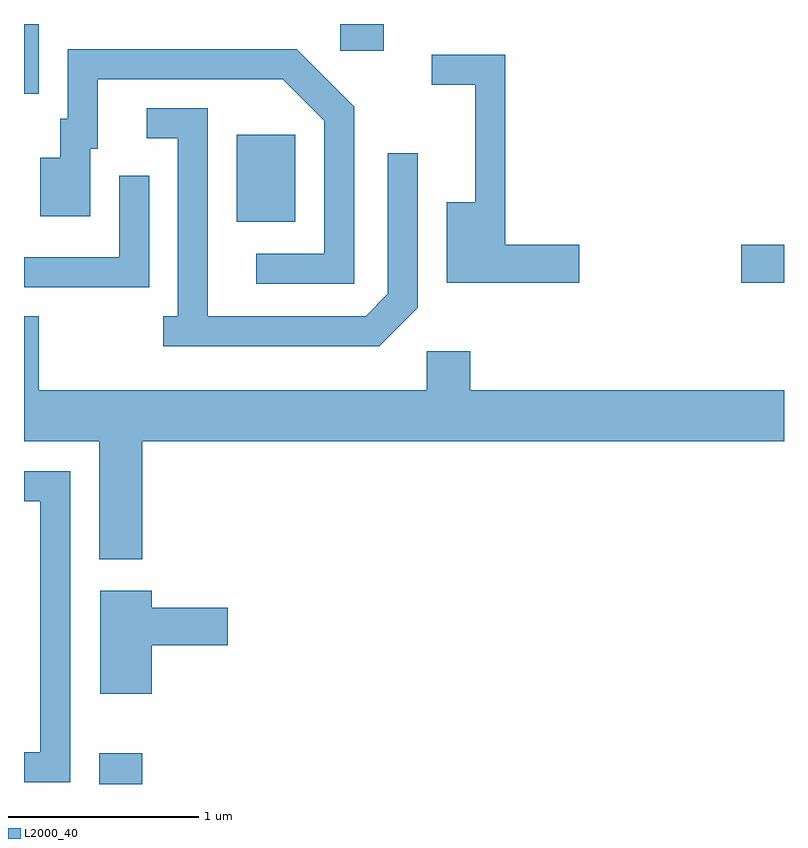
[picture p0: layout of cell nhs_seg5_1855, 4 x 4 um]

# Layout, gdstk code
import gdstk
lib = gdstk.Library(unit=1e-6, precision=1e-09)
def R(c, l, rs):  # rectangles x0, y0, x1, y1
    for r in rs: c.add(gdstk.rectangle(r[:2], r[2:], *l))
def P(c, l, *ps):  # polygons
    for p in ps: c.add(gdstk.Polygon(p, *l))
L2000_40 = (2000, 40)

nhs_seg5_1855 = lib.new_cell('nhs_seg5_1855')
R(nhs_seg5_1855, L2000_40, [(240.006,1486.072,240.234,1486.234), (243.386,1488.711,243.611,1488.909), (240.731,1489.031,241.039,1489.489), (239.611,1489.706,239.689,1490.072), (241.276,1489.931,241.504,1490.072)])
P(nhs_seg5_1855, L2000_40, [(241.349,1489.637),(241.047,1489.939),(239.841,1489.939),(239.841,1489.574),(239.801,1489.574),(239.801,1489.369),(239.696,1489.369),(239.696,1489.061),(239.959,1489.061),(239.959,1489.416),(239.999,1489.416),(239.999,1489.781),(240.974,1489.781),(241.191,1489.564),(241.191,1488.864),(240.833,1488.864),(240.833,1488.706),(241.349,1488.706)],
  [(242.534,1488.909),(242.144,1488.909),(242.144,1489.909),(241.758,1489.909),(241.758,1489.751),(241.986,1489.751),(241.986,1489.134),(241.836,1489.134),(241.836,1488.711),(242.534,1488.711)],
  [(241.684,1488.579),(241.684,1489.393),(241.526,1489.393),(241.526,1488.652),(241.409,1488.534),(240.579,1488.534),(240.579,1489.629),(240.258,1489.629),(240.258,1489.471),(240.421,1489.471),(240.421,1488.534),(240.343,1488.534),(240.343,1488.376),(241.482,1488.376)],
  [(240.269,1489.273),(240.111,1489.273),(240.111,1488.844),(239.611,1488.844),(239.611,1488.686),(240.269,1488.686)],
  [(240.234,1487.876),(243.611,1487.876),(243.611,1488.144),(241.959,1488.144),(241.959,1488.349),(241.731,1488.349),(241.731,1488.144),(239.689,1488.144),(239.689,1488.534),(239.611,1488.534),(239.611,1487.876),(240.006,1487.876),(240.006,1487.256),(240.234,1487.256)],
  [(239.854,1487.719),(239.611,1487.719),(239.611,1487.561),(239.696,1487.561),(239.696,1486.239),(239.611,1486.239),(239.611,1486.081),(239.854,1486.081)],
  [(240.284,1486.801),(240.684,1486.801),(240.684,1486.999),(240.284,1486.999),(240.284,1487.089),(240.011,1487.089),(240.011,1486.546),(240.284,1486.546)])

lib.write_gds('nhs_seg5_1855.gds')
